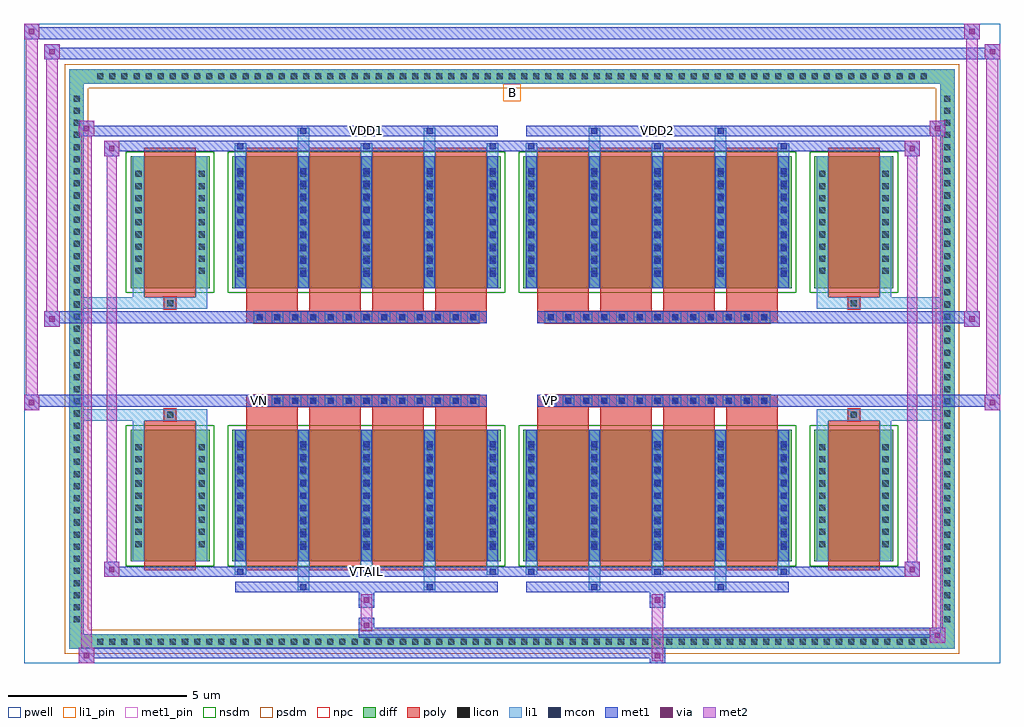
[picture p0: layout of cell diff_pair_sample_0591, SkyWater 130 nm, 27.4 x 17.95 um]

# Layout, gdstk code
import gdstk
lib = gdstk.Library(unit=1e-6, precision=5e-09)
def R(c, l, rs):  # rectangles x0, y0, x1, y1
    for r in rs: c.add(gdstk.rectangle(r[:2], r[2:], *l))
def A(c, l, x, y, w, h, nx, ny, dx, dy):  # array of equal rectangles
    R(c, l, [(x+i*dx, y+j*dy, x+i*dx+w, y+j*dy+h) for i in range(nx) for j in range(ny)])
def P(c, l, *ps):  # polygons
    for p in ps: c.add(gdstk.Polygon(p, *l))
pwell = (64, 44)
diff = (65, 20)
poly = (66, 20)
licon = (66, 44)
li1_pin = (67, 16)
li1 = (67, 20)
mcon = (67, 44)
met1_pin = (68, 16)
met1 = (68, 20)
via = (68, 44)
met2 = (69, 20)
nsdm = (93, 44)
psdm = (94, 20)
npc = (95, 20)

diff_pair_sample_0591 = lib.new_cell('diff_pair_sample_0591')
R(diff_pair_sample_0591, pwell, [(-13.7,-8.54,13.7,9.41), (-11.02,-6.73,-0.01,-0.805), (0.01,-6.73,11.02,-0.805), (-11.02,0.805,-0.01,6.73), (0.01,0.805,11.02,6.73)])
A(diff_pair_sample_0591, diff, -11.765, -8.14, 0.41, 0.41, 69, 2, 0.34, 15.87)
A(diff_pair_sample_0591, diff, -12.43, -7.515, 0.41, 0.41, 1, 44, 0, 0.34)
A(diff_pair_sample_0591, diff, 12.02, -7.515, 0.41, 0.41, 1, 44, 0, 0.34)
R(diff_pair_sample_0591, diff, [(-11.765,-8.14,11.765,-7.73), (-12.43,-7.515,-12.02,7.515), (12.02,-7.515,12.43,7.515), (-10.71,-5.685,-8.49,-1.985), (-7.85,-5.685,-0.32,-1.985), (0.32,-5.685,7.85,-1.985), (8.49,-5.685,10.71,-1.985), (-10.71,1.985,-8.49,5.685), (-7.85,1.985,-0.32,5.685), (0.32,1.985,7.85,5.685), (8.49,1.985,10.71,5.685), (-11.765,7.73,11.765,8.14)])
P(diff_pair_sample_0591, diff, [(12.43,8.14),(-12.43,8.14),(-12.43,-7.73),(-12.02,-7.73),(-12.02,7.73),(12.02,7.73),(12.02,-7.73),(-12.02,-7.73),(-12.43,-7.73),(-12.43,-8.14),(12.43,-8.14)])
A(diff_pair_sample_0591, poly, -7.46, -5.935, 1.44, 4.2, 4, 2, 1.77, 7.67)
A(diff_pair_sample_0591, poly, 0.71, -5.935, 1.44, 4.2, 4, 2, 1.77, 7.67)
A(diff_pair_sample_0591, poly, -7.46, -1.735, 1.44, 0.4, 4, 2, 1.77, 3.07)
A(diff_pair_sample_0591, poly, 0.71, -1.735, 1.44, 0.4, 4, 2, 1.77, 3.07)
A(diff_pair_sample_0591, poly, -7.25, -1.335, 0.33, 0.33, 13, 2, 0.5, 2.34)
A(diff_pair_sample_0591, poly, 0.92, -1.335, 0.33, 0.33, 13, 2, 0.5, 2.34)
R(diff_pair_sample_0591, poly, [(-10.32,-5.935,-8.88,-1.735), (8.88,-5.935,10.32,-1.735), (-9.765,-1.735,-9.435,-1.405), (-9.765,-1.735,-9.435,-1.405), (9.435,-1.735,9.765,-1.405), (9.435,-1.735,9.765,-1.405), (-7.46,-1.335,-0.71,-1.005), (0.71,-1.335,7.46,-1.005), (-7.46,1.005,-0.71,1.335), (0.71,1.005,7.46,1.335), (-9.765,1.405,-9.435,1.735), (-9.765,1.405,-9.435,1.735), (9.435,1.405,9.765,1.735), (9.435,1.405,9.765,1.735), (-10.32,1.735,-8.88,5.935), (8.88,1.735,10.32,5.935)])
A(diff_pair_sample_0591, licon, -11.645, -8.02, 0.17, 0.17, 69, 2, 0.34, 15.87)
A(diff_pair_sample_0591, licon, -12.31, -7.395, 0.17, 0.17, 1, 44, 0, 0.34)
A(diff_pair_sample_0591, licon, 12.14, -7.395, 0.17, 0.17, 1, 44, 0, 0.34)
A(diff_pair_sample_0591, licon, -10.57, -5.28, 0.17, 0.17, 1, 9, 0, 0.34)
A(diff_pair_sample_0591, licon, -8.8, -5.28, 0.17, 0.17, 1, 9, 0, 0.34)
A(diff_pair_sample_0591, licon, -7.71, -5.28, 0.17, 0.17, 5, 9, 1.77, 0.34)
A(diff_pair_sample_0591, licon, 0.46, -5.28, 0.17, 0.17, 5, 9, 1.77, 0.34)
A(diff_pair_sample_0591, licon, 8.63, -5.28, 0.17, 0.17, 1, 9, 0, 0.34)
A(diff_pair_sample_0591, licon, 10.4, -5.28, 0.17, 0.17, 1, 9, 0, 0.34)
A(diff_pair_sample_0591, licon, -7.17, -1.255, 0.17, 0.17, 13, 2, 0.5, 2.34)
A(diff_pair_sample_0591, licon, 1, -1.255, 0.17, 0.17, 13, 2, 0.5, 2.34)
A(diff_pair_sample_0591, licon, -10.57, 2.39, 0.17, 0.17, 1, 9, 0, 0.34)
A(diff_pair_sample_0591, licon, -8.8, 2.39, 0.17, 0.17, 1, 9, 0, 0.34)
A(diff_pair_sample_0591, licon, -7.71, 2.39, 0.17, 0.17, 5, 9, 1.77, 0.34)
A(diff_pair_sample_0591, licon, 0.46, 2.39, 0.17, 0.17, 5, 9, 1.77, 0.34)
A(diff_pair_sample_0591, licon, 8.63, 2.39, 0.17, 0.17, 1, 9, 0, 0.34)
A(diff_pair_sample_0591, licon, 10.4, 2.39, 0.17, 0.17, 1, 9, 0, 0.34)
R(diff_pair_sample_0591, licon, [(-9.685,-1.655,-9.515,-1.485), (9.515,-1.655,9.685,-1.485), (-9.685,1.485,-9.515,1.655), (9.515,1.485,9.685,1.655)])
R(diff_pair_sample_0591, li1_pin, [(-0.25,7.23,0.25,7.73)])
A(diff_pair_sample_0591, li1, -11.725, -8.1, 0.33, 0.33, 69, 2, 0.34, 15.87)
A(diff_pair_sample_0591, li1, -12.39, -7.475, 0.33, 0.33, 1, 44, 0, 0.34)
A(diff_pair_sample_0591, li1, 12.06, -7.475, 0.33, 0.33, 1, 44, 0, 0.34)
A(diff_pair_sample_0591, li1, -7.79, -6.06, 0.33, 0.375, 3, 2, 3.54, 11.745)
A(diff_pair_sample_0591, li1, -7.71, -6.06, 0.17, 0.17, 3, 2, 3.54, 11.95)
A(diff_pair_sample_0591, li1, 0.38, -6.06, 0.33, 0.375, 3, 2, 3.54, 11.745)
A(diff_pair_sample_0591, li1, 0.46, -6.06, 0.17, 0.17, 3, 2, 3.54, 11.95)
A(diff_pair_sample_0591, li1, -7.79, -5.685, 0.33, 3.7, 5, 2, 1.77, 7.67)
A(diff_pair_sample_0591, li1, 0.38, -5.685, 0.33, 3.7, 5, 2, 1.77, 7.67)
A(diff_pair_sample_0591, li1, -10.65, -5.36, 0.33, 0.33, 1, 9, 0, 0.34)
A(diff_pair_sample_0591, li1, -8.88, -5.36, 0.33, 0.33, 1, 9, 0, 0.34)
A(diff_pair_sample_0591, li1, -7.79, -5.36, 0.33, 0.33, 5, 9, 1.77, 0.34)
A(diff_pair_sample_0591, li1, -7.71, -5.36, 0.17, 0.17, 5, 9, 1.77, 0.36)
A(diff_pair_sample_0591, li1, -7.71, -5.36, 0.17, 3.05, 5, 2, 1.77, 7.67)
A(diff_pair_sample_0591, li1, 0.38, -5.36, 0.33, 0.33, 5, 9, 1.77, 0.34)
A(diff_pair_sample_0591, li1, 0.46, -5.36, 0.17, 0.17, 5, 9, 1.77, 0.36)
A(diff_pair_sample_0591, li1, 0.46, -5.36, 0.17, 3.05, 5, 2, 1.77, 7.67)
A(diff_pair_sample_0591, li1, 8.55, -5.36, 0.33, 0.33, 1, 9, 0, 0.34)
A(diff_pair_sample_0591, li1, 10.32, -5.36, 0.33, 0.33, 1, 9, 0, 0.34)
A(diff_pair_sample_0591, li1, -7.25, -1.335, 0.33, 0.33, 13, 2, 0.5, 2.34)
A(diff_pair_sample_0591, li1, 0.92, -1.335, 0.33, 0.33, 13, 2, 0.5, 2.34)
A(diff_pair_sample_0591, li1, -10.65, 2.31, 0.33, 0.33, 1, 9, 0, 0.34)
A(diff_pair_sample_0591, li1, -8.88, 2.31, 0.33, 0.33, 1, 9, 0, 0.34)
A(diff_pair_sample_0591, li1, -7.79, 2.31, 0.33, 0.33, 5, 9, 1.77, 0.34)
A(diff_pair_sample_0591, li1, -7.71, 2.31, 0.17, 0.17, 5, 9, 1.77, 0.36)
A(diff_pair_sample_0591, li1, 0.38, 2.31, 0.33, 0.33, 5, 9, 1.77, 0.34)
A(diff_pair_sample_0591, li1, 0.46, 2.31, 0.17, 0.17, 5, 9, 1.77, 0.36)
A(diff_pair_sample_0591, li1, 8.55, 2.31, 0.33, 0.33, 1, 9, 0, 0.34)
A(diff_pair_sample_0591, li1, 10.32, 2.31, 0.33, 0.33, 1, 9, 0, 0.34)
R(diff_pair_sample_0591, li1, [(-12.43,-8.14,-12.02,-7.73), (-12.43,-8.14,-12.02,-7.73), (-12.02,-8.14,12.02,-7.73), (12.02,-8.14,12.43,-7.73), (12.02,-8.14,12.43,-7.73), (-12.43,-7.73,-12.02,7.73), (12.02,-7.73,12.43,7.73), (-6.02,-6.49,-5.69,-5.685), (-5.94,-6.49,-5.77,-6.32), (-2.48,-6.49,-2.15,-5.685), (-2.4,-6.49,-2.23,-6.32), (2.15,-6.49,2.48,-5.685), (2.23,-6.49,2.4,-6.32), (5.69,-6.49,6.02,-5.685), (5.77,-6.49,5.94,-6.32), (-10.65,-5.685,-10.32,-1.985), (-8.88,-5.685,-8.55,-1.985), (8.55,-5.685,8.88,-1.985), (10.32,-5.685,10.65,-1.985), (-10.65,-1.985,-10.32,-1.405), (-8.88,-1.985,-8.55,-1.405), (8.55,-1.985,8.88,-1.405), (10.32,-1.985,10.65,-1.405), (-12.43,-1.735,-9.765,-1.405), (-10.65,-1.735,-9.765,-1.405), (-9.765,-1.735,-9.435,-1.405), (-9.435,-1.735,-8.55,-1.405), (8.55,-1.735,9.435,-1.405), (9.435,-1.735,9.765,-1.405), (9.435,-1.735,12.43,-1.405), (9.765,-1.735,10.65,-1.405), (-12.43,1.405,-9.765,1.735), (-10.65,1.405,-9.765,1.735), (-10.65,1.405,-10.32,1.985), (-9.765,1.405,-9.435,1.735), (-9.435,1.405,-8.55,1.735), (-8.88,1.405,-8.55,1.985), (8.55,1.405,9.435,1.735), (8.55,1.405,8.88,1.985), (9.435,1.405,9.765,1.735), (9.435,1.405,12.43,1.735), (9.765,1.405,10.65,1.735), (10.32,1.405,10.65,1.985), (-10.65,1.985,-10.32,5.685), (-8.88,1.985,-8.55,5.685), (8.55,1.985,8.88,5.685), (10.32,1.985,10.65,5.685), (-6.02,5.685,-5.69,6.49), (-2.48,5.685,-2.15,6.49), (2.15,5.685,2.48,6.49), (5.69,5.685,6.02,6.49), (-5.94,6.32,-5.77,6.49), (-2.4,6.32,-2.23,6.49), (2.23,6.32,2.4,6.49), (5.77,6.32,5.94,6.49), (-12.43,7.73,-12.02,8.14), (-12.43,7.73,-12.02,8.14), (-12.02,7.73,12.02,8.14), (12.02,7.73,12.43,8.14), (12.02,7.73,12.43,8.14)])
A(diff_pair_sample_0591, mcon, -7.71, -6.06, 0.17, 0.17, 3, 2, 3.54, 11.95)
A(diff_pair_sample_0591, mcon, 0.46, -6.06, 0.17, 0.17, 3, 2, 3.54, 11.95)
A(diff_pair_sample_0591, mcon, -7.71, -5.36, 0.17, 0.17, 5, 9, 1.77, 0.36)
A(diff_pair_sample_0591, mcon, 0.46, -5.36, 0.17, 0.17, 5, 9, 1.77, 0.36)
A(diff_pair_sample_0591, mcon, -7.17, -1.255, 0.17, 0.17, 13, 2, 0.5, 2.34)
A(diff_pair_sample_0591, mcon, 1, -1.255, 0.17, 0.17, 13, 2, 0.5, 2.34)
A(diff_pair_sample_0591, mcon, -7.71, 2.31, 0.17, 0.17, 5, 9, 1.77, 0.36)
A(diff_pair_sample_0591, mcon, 0.46, 2.31, 0.17, 0.17, 5, 9, 1.77, 0.36)
R(diff_pair_sample_0591, mcon, [(-5.94,-6.49,-5.77,-6.32), (-2.4,-6.49,-2.23,-6.32), (2.23,-6.49,2.4,-6.32), (5.77,-6.49,5.94,-6.32), (-5.94,6.32,-5.77,6.49), (-2.4,6.32,-2.23,6.49), (2.23,6.32,2.4,6.49), (5.77,6.32,5.94,6.49)])
R(diff_pair_sample_0591, met1_pin, [(-4.22,-6.1,-3.95,-5.83), (-7.22,-1.295,-6.95,-1.025), (0.95,-1.295,1.22,-1.025), (-4.22,6.28,-3.95,6.55), (3.95,6.28,4.22,6.55)])
A(diff_pair_sample_0591, met1, -7.77, -6.12, 0.29, 0.29, 3, 2, 3.54, 11.95)
A(diff_pair_sample_0591, met1, 0.4, -6.12, 0.29, 0.29, 3, 2, 3.54, 11.95)
A(diff_pair_sample_0591, met1, -7.77, -5.685, 0.29, 3.7, 5, 2, 1.77, 7.67)
A(diff_pair_sample_0591, met1, 0.4, -5.685, 0.29, 3.7, 5, 2, 1.77, 7.67)
A(diff_pair_sample_0591, met1, -7.77, -5.42, 0.29, 0.29, 5, 9, 1.77, 0.36)
A(diff_pair_sample_0591, met1, 0.4, -5.42, 0.29, 0.29, 5, 9, 1.77, 0.36)
A(diff_pair_sample_0591, met1, -7.23, -1.315, 0.29, 0.29, 13, 2, 0.5, 2.34)
A(diff_pair_sample_0591, met1, 0.94, -1.315, 0.29, 0.29, 13, 2, 0.5, 2.34)
A(diff_pair_sample_0591, met1, -7.77, 2.25, 0.29, 0.29, 5, 9, 1.77, 0.36)
A(diff_pair_sample_0591, met1, 0.4, 2.25, 0.29, 0.29, 5, 9, 1.77, 0.36)
R(diff_pair_sample_0591, met1, [(-12.16,-8.54,-11.73,-8.11), (3.87,-8.54,4.3,-8.11), (-12.16,-8.4,4.3,-8.11), (11.73,-7.97,12.16,-7.54), (-4.3,-7.83,12.16,-7.54), (-4.3,-7.69,-3.87,-7.26), (-4.3,-6.98,-3.87,-6.55), (3.87,-6.98,4.3,-6.55), (-7.77,-6.55,-0.4,-6.26), (-6,-6.55,-5.71,-6.26), (-2.46,-6.55,-2.17,-6.26), (0.4,-6.55,7.77,-6.26), (2.17,-6.55,2.46,-6.26), (5.71,-6.55,6,-6.26), (-11.45,-6.12,-11.02,-5.69), (-11.45,-6.12,-7.77,-5.83), (-7.77,-6.12,-0.4,-5.83), (-0.4,-6.12,0.4,-5.83), (0.4,-6.12,7.77,-5.83), (7.77,-6.12,11.45,-5.83), (11.02,-6.12,11.45,-5.69), (-13.7,-1.435,-13.27,-1.005), (13.27,-1.435,13.7,-1.005), (-13.7,-1.335,-0.71,-1.005), (-7.46,-1.335,-0.71,-1.005), (0.71,-1.335,7.46,-1.005), (0.71,-1.335,13.7,-1.005), (-13.13,0.905,-12.7,1.335), (12.7,0.905,13.13,1.335), (-13.13,1.005,-7.46,1.335), (-7.46,1.005,-0.71,1.335), (0.71,1.005,7.46,1.335), (7.46,1.005,13.13,1.335), (-11.45,5.69,-11.02,6.12), (11.02,5.69,11.45,6.12), (-11.45,5.83,-7.77,6.12), (-7.77,5.83,-0.4,6.12), (-0.4,5.83,0.4,6.12), (0.4,5.83,7.77,6.12), (7.77,5.83,11.45,6.12), (-12.16,6.26,-11.73,6.69), (-12.16,6.26,-7.77,6.55), (-7.77,6.26,-0.4,6.55), (-6,6.26,-5.71,6.55), (-2.46,6.26,-2.17,6.55), (0.4,6.26,7.77,6.55), (2.17,6.26,2.46,6.55), (5.71,6.26,6,6.55), (7.77,6.26,12.16,6.55), (11.73,6.26,12.16,6.69), (-13.13,8.41,-12.7,8.84), (-13.13,8.41,-11.02,8.74), (-11.02,8.41,11.02,8.74), (11.02,8.41,13.7,8.74), (13.27,8.41,13.7,8.84), (-13.7,8.98,-13.27,9.41), (-13.7,8.98,-11.02,9.31), (-11.02,8.98,11.02,9.31), (11.02,8.98,13.13,9.31), (12.7,8.98,13.13,9.41)])
R(diff_pair_sample_0591, via, [(-12.02,-8.4,-11.87,-8.25), (4.01,-8.4,4.16,-8.25), (11.87,-7.83,12.02,-7.68), (-4.16,-7.55,-4.01,-7.4), (-4.16,-6.84,-4.01,-6.69), (4.01,-6.84,4.16,-6.69), (-11.31,-5.98,-11.16,-5.83), (11.16,-5.98,11.31,-5.83), (-13.56,-1.295,-13.41,-1.145), (13.41,-1.295,13.56,-1.145), (-12.99,1.045,-12.84,1.195), (12.84,1.045,12.99,1.195), (-11.31,5.83,-11.16,5.98), (11.16,5.83,11.31,5.98), (-12.02,6.4,-11.87,6.55), (11.87,6.4,12.02,6.55), (-12.99,8.55,-12.84,8.7), (13.41,8.55,13.56,8.7), (-13.56,9.12,-13.41,9.27), (12.84,9.12,12.99,9.27)])
R(diff_pair_sample_0591, met2, [(-12.16,-8.54,-11.73,-8.11), (-12.09,-8.54,-11.8,6.69), (-11.8,-8.54,-11.73,-8.11), (-12.11,-8.49,-11.78,-8.16), (3.92,-8.49,4.25,-8.16), (3.92,-8.16,4.25,-6.93), (11.73,-7.97,12.16,-7.54), (11.8,-7.97,12.09,6.69), (12.09,-7.97,12.16,-7.54), (11.78,-7.92,12.11,-7.59), (-4.25,-7.64,-3.92,-7.31), (-4.25,-7.31,-3.92,-6.93), (-4.25,-6.93,-3.92,-6.6), (3.92,-6.93,4.25,-6.6), (-11.45,-6.12,-11.02,-5.69), (-11.38,-6.12,-11.09,6.12), (-11.09,-6.12,-11.02,-5.69), (11.02,-6.12,11.45,-5.69), (11.09,-6.12,11.38,6.12), (11.38,-6.12,11.45,-5.69), (-11.4,-6.07,-11.07,-5.74), (11.07,-6.07,11.4,-5.74), (-13.7,-1.435,-13.27,-1.005), (-13.65,-1.435,-13.32,9.41), (-13.32,-1.435,-13.27,-1.005), (13.27,-1.435,13.7,-1.005), (13.32,-1.435,13.65,8.84), (13.65,-1.435,13.7,-1.005), (-13.65,-1.385,-13.32,-1.055), (13.32,-1.385,13.65,-1.055), (-13.13,0.905,-12.7,1.335), (-13.08,0.905,-12.75,8.84), (-12.75,0.905,-12.7,1.335), (12.7,0.905,13.13,1.335), (12.75,0.905,13.08,9.41), (13.08,0.905,13.13,1.335), (-13.08,0.955,-12.75,1.285), (12.75,0.955,13.08,1.285), (-11.45,5.69,-11.02,6.12), (-11.09,5.69,-11.02,6.12), (11.02,5.69,11.45,6.12), (11.38,5.69,11.45,6.12), (-11.4,5.74,-11.07,6.07), (11.07,5.74,11.4,6.07), (-12.16,6.26,-11.73,6.69), (-11.8,6.26,-11.73,6.69), (11.73,6.26,12.16,6.69), (12.09,6.26,12.16,6.69), (-12.11,6.31,-11.78,6.64), (11.78,6.31,12.11,6.64), (-13.13,8.41,-12.7,8.84), (-12.75,8.41,-12.7,8.84), (13.27,8.41,13.7,8.84), (13.65,8.41,13.7,8.84), (-13.08,8.46,-12.75,8.79), (13.32,8.46,13.65,8.79), (-13.7,8.98,-13.27,9.41), (-13.32,8.98,-13.27,9.41), (12.7,8.98,13.13,9.41), (13.08,8.98,13.13,9.41), (-13.65,9.03,-13.32,9.36), (12.75,9.03,13.08,9.36)])
R(diff_pair_sample_0591, nsdm, [(-10.84,-5.815,-8.36,-1.855), (-7.98,-5.815,-0.19,-1.855), (0.19,-5.815,7.98,-1.855), (8.36,-5.815,10.84,-1.855), (-10.84,1.855,-8.36,5.815), (-7.98,1.855,-0.19,5.815), (0.19,1.855,7.98,5.815), (8.36,1.855,10.84,5.815)])
P(diff_pair_sample_0591, psdm, [(12.56,8.27),(-12.56,8.27),(-12.56,-7.6),(-11.89,-7.6),(-11.89,7.6),(11.89,7.6),(11.89,-7.6),(-11.89,-7.6),(-12.56,-7.6),(-12.56,-8.27),(12.56,-8.27)])
A(diff_pair_sample_0591, npc, -7.27, -1.355, 0.37, 0.37, 13, 2, 0.5, 2.34)
A(diff_pair_sample_0591, npc, 0.9, -1.355, 0.37, 0.37, 13, 2, 0.5, 2.34)
R(diff_pair_sample_0591, npc, [(-9.785,-1.755,-9.415,-1.385), (9.415,-1.755,9.785,-1.385), (-7.27,-1.355,-6.4,-0.985), (-7.27,-1.355,-6.4,-0.985), (-6.77,-1.355,-5.9,-0.985), (-6.77,-1.355,-5.9,-0.985), (-6.27,-1.355,-5.4,-0.985), (-6.27,-1.355,-5.4,-0.985), (-5.77,-1.355,-4.9,-0.985), (-5.77,-1.355,-4.9,-0.985), (-5.27,-1.355,-4.4,-0.985), (-5.27,-1.355,-4.4,-0.985), (-4.77,-1.355,-3.9,-0.985), (-4.77,-1.355,-3.9,-0.985), (-4.27,-1.355,-3.4,-0.985), (-4.27,-1.355,-3.4,-0.985), (-3.77,-1.355,-2.9,-0.985), (-3.77,-1.355,-2.9,-0.985), (-3.27,-1.355,-2.4,-0.985), (-3.27,-1.355,-2.4,-0.985), (-2.77,-1.355,-1.9,-0.985), (-2.77,-1.355,-1.9,-0.985), (-2.27,-1.355,-1.4,-0.985), (-2.27,-1.355,-1.4,-0.985), (-1.77,-1.355,-0.9,-0.985), (-1.77,-1.355,-0.9,-0.985), (0.9,-1.355,1.77,-0.985), (0.9,-1.355,1.77,-0.985), (1.4,-1.355,2.27,-0.985), (1.4,-1.355,2.27,-0.985), (1.9,-1.355,2.77,-0.985), (1.9,-1.355,2.77,-0.985), (2.4,-1.355,3.27,-0.985), (2.4,-1.355,3.27,-0.985), (2.9,-1.355,3.77,-0.985), (2.9,-1.355,3.77,-0.985), (3.4,-1.355,4.27,-0.985), (3.4,-1.355,4.27,-0.985), (3.9,-1.355,4.77,-0.985), (3.9,-1.355,4.77,-0.985), (4.4,-1.355,5.27,-0.985), (4.4,-1.355,5.27,-0.985), (4.9,-1.355,5.77,-0.985), (4.9,-1.355,5.77,-0.985), (5.4,-1.355,6.27,-0.985), (5.4,-1.355,6.27,-0.985), (5.9,-1.355,6.77,-0.985), (5.9,-1.355,6.77,-0.985), (6.4,-1.355,7.27,-0.985), (6.4,-1.355,7.27,-0.985), (-7.27,0.985,-6.4,1.355), (-7.27,0.985,-6.4,1.355), (-6.77,0.985,-5.9,1.355), (-6.77,0.985,-5.9,1.355), (-6.27,0.985,-5.4,1.355), (-6.27,0.985,-5.4,1.355), (-5.77,0.985,-4.9,1.355), (-5.77,0.985,-4.9,1.355), (-5.27,0.985,-4.4,1.355), (-5.27,0.985,-4.4,1.355), (-4.77,0.985,-3.9,1.355), (-4.77,0.985,-3.9,1.355), (-4.27,0.985,-3.4,1.355), (-4.27,0.985,-3.4,1.355), (-3.77,0.985,-2.9,1.355), (-3.77,0.985,-2.9,1.355), (-3.27,0.985,-2.4,1.355), (-3.27,0.985,-2.4,1.355), (-2.77,0.985,-1.9,1.355), (-2.77,0.985,-1.9,1.355), (-2.27,0.985,-1.4,1.355), (-2.27,0.985,-1.4,1.355), (-1.77,0.985,-0.9,1.355), (-1.77,0.985,-0.9,1.355), (0.9,0.985,1.77,1.355), (0.9,0.985,1.77,1.355), (1.4,0.985,2.27,1.355), (1.4,0.985,2.27,1.355), (1.9,0.985,2.77,1.355), (1.9,0.985,2.77,1.355), (2.4,0.985,3.27,1.355), (2.4,0.985,3.27,1.355), (2.9,0.985,3.77,1.355), (2.9,0.985,3.77,1.355), (3.4,0.985,4.27,1.355), (3.4,0.985,4.27,1.355), (3.9,0.985,4.77,1.355), (3.9,0.985,4.77,1.355), (4.4,0.985,5.27,1.355), (4.4,0.985,5.27,1.355), (4.9,0.985,5.77,1.355), (4.9,0.985,5.77,1.355), (5.4,0.985,6.27,1.355), (5.4,0.985,6.27,1.355), (5.9,0.985,6.77,1.355), (5.9,0.985,6.77,1.355), (6.4,0.985,7.27,1.355), (6.4,0.985,7.27,1.355), (-9.785,1.385,-9.415,1.755), (9.415,1.385,9.785,1.755)])
diff_pair_sample_0591.add(gdstk.Label('VTAIL', (-4.085,-5.965), layer=68, texttype=5))
diff_pair_sample_0591.add(gdstk.Label('VN', (-7.085,-1.16), layer=68, texttype=5))
diff_pair_sample_0591.add(gdstk.Label('VP', (1.085,-1.16), layer=68, texttype=5))
diff_pair_sample_0591.add(gdstk.Label('B', (0,7.48), layer=67, texttype=5))
diff_pair_sample_0591.add(gdstk.Label('VDD2', (4.085,6.415), layer=68, texttype=5))
diff_pair_sample_0591.add(gdstk.Label('VDD1', (-4.085,6.415), layer=68, texttype=5))

lib.write_gds('diff_pair_sample_0591.gds')
